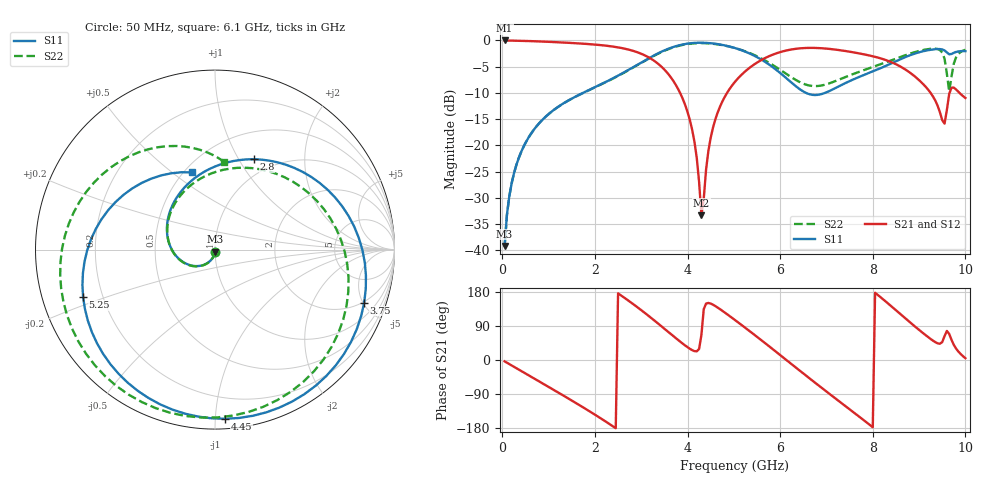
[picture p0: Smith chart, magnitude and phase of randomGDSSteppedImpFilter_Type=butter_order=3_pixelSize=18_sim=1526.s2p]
! freq	dB(S11)	phase(S11)	dB(S12)	phase(S12)
!  dB(S21)	phase(S21)	dB(S22)	phase(S22)
!S-par simulation data
#  GHz  S  DB  R 50
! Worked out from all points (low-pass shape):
!   200 points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, 50 MHz to 10 GHz, reference 50 ohm
!   highest |S21| = -0.01 dB at 50 MHz (marker M1); lowest = -33.3 dB at 4.3 GHz (marker M2)
!   |S21| within 3 dB of the highest: start of sweep to 3.115 GHz; 5.76 GHz to 7.995 GHz (2.235 GHz wide, 32.5 % of centre)
!   lowest |S11| = -39.1 dB at 50 MHz (marker M3), VSWR 1.02, Z = 49.9 - j1.1 ohm
!   |S11| at or under -10 dB: start of sweep to 1.74 GHz; 6.561 GHz to 6.967 GHz (405.5 MHz wide, 5.99 % of centre)
!   |S22| runs from -39.2 to -0.5 dB; largest |S21 - S12| = 0
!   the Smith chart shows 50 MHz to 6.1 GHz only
!   S11 on the Smith chart (normalised r, x): 50 MHz: 1.00, -0.02; 2.8 GHz: 0.81, +1.16; 3.75 GHz: 1.92, -5.11; 4.45 GHz: 0.06, -1.06; 5.25 GHz: 0.13, -0.17; 6.1 GHz: 0.54, +0.59
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0.05  -39.15 -92.4  -0.01 -3.6  -0.01 -3.6  -39.18 -92.6
0.2  -27.29 -104.2  -0.03 -14.3  -0.03 -14.3  -27.30 -103.8
0.5  -19.53 -126.3  -0.10 -35.5  -0.10 -35.5  -19.54 -125.6
1.15  -12.98 -172.8  -0.33 -81.7  -0.33 -81.7  -13.00 -172.0
1.75  -9.96 144.8  -0.63 -125.3  -0.63 -125.3  -9.99 142.9
2.8  -5.23 66.8  -1.92 149.9  -1.92 149.9  -5.29 50.9
3.4  -2.30 14.2  -4.71 92.7  -4.71 92.7  -2.38 -12.0
3.75  -1.09 -19.5  -8.52 57.4  -8.52 57.4  -1.17 -50.9
4.1  -0.51 -53.5  -17.01 26.0  -17.01 26.0  -0.58 -89.3
4.3  -0.44 -72.5  -33.33 66.5  -33.33 66.5  -0.51 -110.5
4.45  -0.50 -86.5  -21.06 150.5  -21.06 150.5  -0.56 -126.0
5.05  -1.52 -141.5  -7.62 103.2  -7.62 103.2  -1.51 174.8
5.25  -2.15 -160.2  -5.85 84.7  -5.85 84.7  -2.09 155.8
6.1  -6.94 106.9  -1.99 3.3  -1.99 3.3  -6.18 83.9
6.7  -10.37 10.1  -1.42 -54.8  -1.42 -54.8  -8.68 57.1
7.5  -7.74 -116.6  -2.15 -130.0  -2.15 -130.0  -6.66 26.2
8.35  -4.58 117.9  -3.95 147.1  -3.95 147.1  -3.97 -13.9
8.7  -3.19 63.0  -5.51 110.3  -5.51 110.3  -2.82 -30.8
9.15  -1.94 -0.3  -8.91 64.7  -8.91 64.7  -1.72 -56.2
9.5  -1.71 -43.9  -15.19 47.3  -15.19 47.3  -2.31 -88.1
9.65  -2.64 -58.3  -10.19 69.0  -10.19 69.0  -9.70 -77.2
10  -2.04 -89.7  -10.96 4.7  -10.96 4.7  -1.78 -75.4
